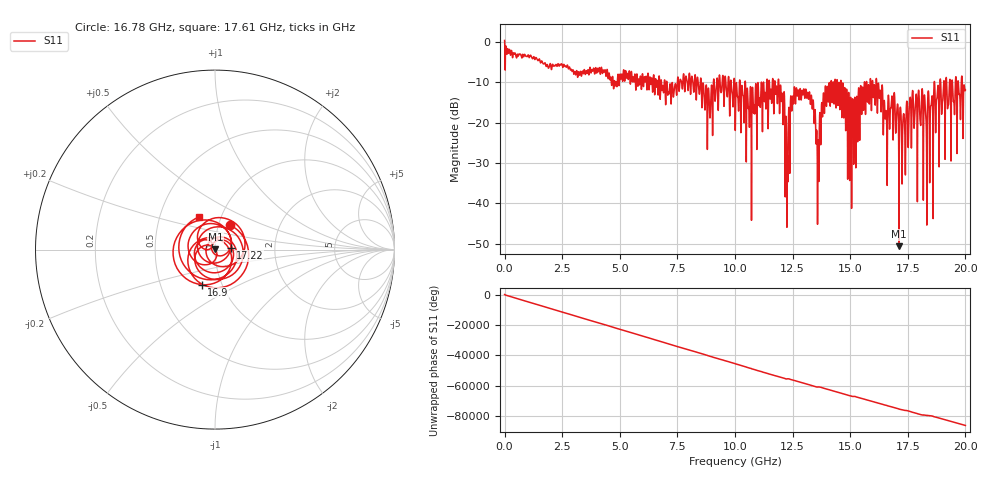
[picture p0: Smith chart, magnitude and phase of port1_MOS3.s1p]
! MS46122B
! 2250307/22442219
! 7/26/2025 10:22:41 AM
! C:\USERS\SPARKY\DOCUMENTS\VNA_DATA\JULY26_2025\295K\PORT1_MOS3.S1P
! CHANNEL.1
! TR.MEASUREMENT
! RAW.DATA
# GHZ S RI R 50.0
! FREQ.GHZ  S11RE  S11IM
!; PortSelection: Port_1
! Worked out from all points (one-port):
!   10001 points, 1 MHz to 20 GHz, reference 50 ohm
!   lowest |S11| = -50.6 dB at 17.12 GHz (marker M1), VSWR 1.01, Z = 50.2 + j0.2 ohm
!   |S11| at or under -10 dB: 11.9 GHz to 14.17 GHz (2.264 GHz wide, 17.4 % of centre); 14.61 GHz to 15.62 GHz (1.01 GHz wide, 6.69 % of centre); 16.15 GHz to 18.65 GHz (2.496 GHz wide, 14.3 % of centre) (the widest 3 of 68)
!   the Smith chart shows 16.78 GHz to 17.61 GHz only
!   S11 on the Smith chart (normalised r, x): 16.78 GHz: 1.14, +0.32; 16.9 GHz: 0.80, -0.33; 17.22 GHz: 1.19, +0.02; 17.61 GHz: 0.79, +0.30
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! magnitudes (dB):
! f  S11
! 1 MHz  0.4
! 2.501 GHz  -5.7
! 5.001 GHz  -8.3
! 7.501 GHz  -9.8
! 8.443 GHz  -12.6
! 8.867 GHz  -12.7
! 9.399 GHz  -12.5
! 10 GHz  -15.4
! 10.65 GHz  -14.5
! 11.81 GHz  -11.3
! 12.06 GHz  -13.5
! 12.28 GHz  -28.3
! 12.5 GHz  -13.4
! 13.24 GHz  -12.4
! 13.58 GHz  -45.2
! 14.01 GHz  -11.0
! 15 GHz  -16.2
! 16.05 GHz  -10.7
! 16.52 GHz  -19.0
! 16.78 GHz  -15.9
! 16.9 GHz  -13.6
! 17.12 GHz  -50.6
! 17.22 GHz  -21.2
! 17.5 GHz  -20.7
! 17.61 GHz  -13.9
! 18.38 GHz  -12.8
! 18.73 GHz  -16.6
! 20 GHz  -11.9
